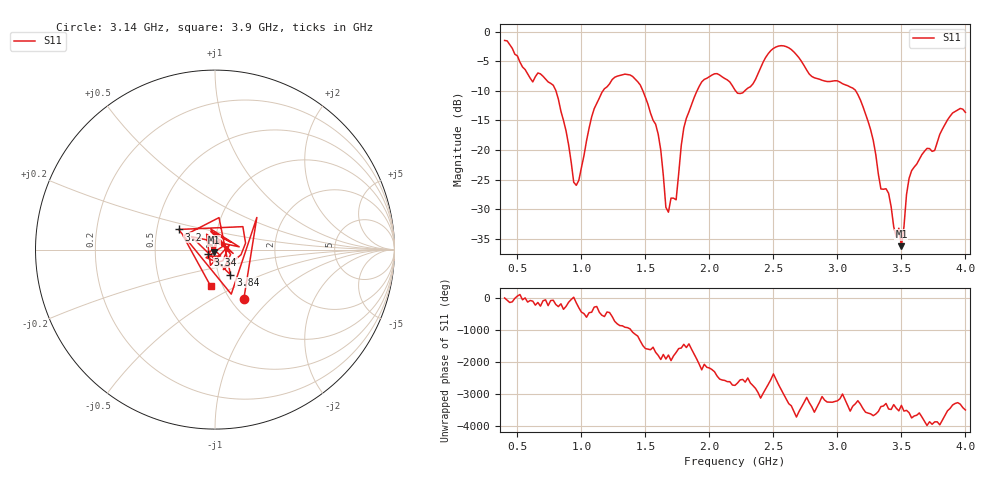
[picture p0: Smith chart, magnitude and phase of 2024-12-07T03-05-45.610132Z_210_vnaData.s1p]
!Created with skrf (http://scikit-rf.org).
# Hz S RI R 50.0
!freq ReS11 ImS11
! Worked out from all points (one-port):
!   181 points, 400 MHz to 4 GHz, reference 50 ohm
!   lowest |S11| = -36.2 dB at 3.5 GHz (marker M1), VSWR 1.03, Z = 49.5 - j1.45 ohm
!   |S11| at or under -10 dB: 800.8 MHz to 1.169 GHz (368.1 MHz wide, 37.4 % of centre); 1.48 GHz to 1.904 GHz (423.6 MHz wide, 25 % of centre); 3.143 GHz to end of sweep (the widest 3 of 4)
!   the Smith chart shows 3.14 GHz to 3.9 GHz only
!   S11 on the Smith chart (normalised r, x): 3.14 GHz: 1.15, -0.71; 3.2 GHz: 0.65, +0.15; 3.34 GHz: 0.92, -0.05; 3.84 GHz: 1.14, -0.33; 3.9 GHz: 0.88, -0.37
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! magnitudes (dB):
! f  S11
! 400 MHz  -1.5
! 620 MHz  -8.5
! 780 MHz  -9.1
! 860 MHz  -15.0
! 960 MHz  -26.0
! 1.1 GHz  -13.0
! 1.3 GHz  -7.4
! 1.46 GHz  -9.0
! 1.58 GHz  -15.7
! 1.68 GHz  -30.5
! 1.74 GHz  -28.4
! 1.76 GHz  -24.0
! 1.8 GHz  -16.3
! 1.94 GHz  -8.5
! 2.2 GHz  -9.9
! 2.5 GHz  -2.8
! 2.66 GHz  -3.4
! 3.1 GHz  -9.4
! 3.14 GHz  -9.9
! 3.2 GHz  -12.7
! 3.28 GHz  -18.4
! 3.34 GHz  -26.6
! 3.4 GHz  -27.3
! 3.5 GHz  -36.2
! 3.56 GHz  -24.8
! 3.84 GHz  -15.7
! 3.9 GHz  -13.7
! 4 GHz  -13.6
